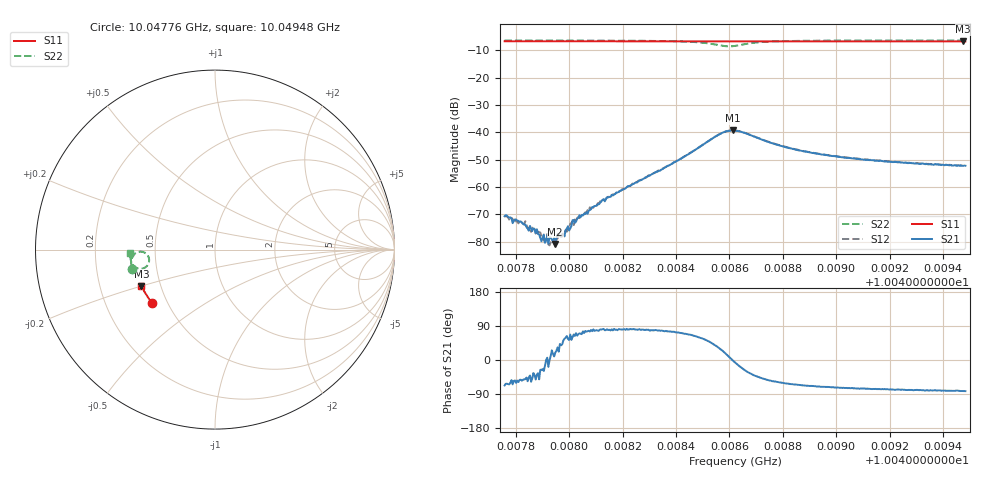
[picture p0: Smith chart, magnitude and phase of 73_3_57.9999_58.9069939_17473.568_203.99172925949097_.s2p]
#  HZ  S  RI  R  50.00
! Rohde & Schwarz Vector Network Analyzer
! Rohde-Schwarz,ZNB20-2Port,1311601062101988,3.16
! Created: UTC 3/21/2024, 12:53:35 AM
! freq[Hz]  re:S11  im:S11  re:S21  im:S21  re:S12  im:S12  re:S22  im:S22
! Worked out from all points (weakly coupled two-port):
!   401 points, 10.04776 GHz to 10.04948 GHz, reference 50 ohm
!   highest |S21| = -39.30 dB at 10.04861 GHz (marker M1); lowest = -80.7 dB at 10.04795 GHz (marker M2)
!   lowest |S11| = -6.8 dB at 10.04948 GHz (marker M3), VSWR 2.68, Z = 19.5 - j9.97 ohm
!   |S11| at or under -10 dB: nowhere
!   |S22| runs from -8.6 to -6.5 dB; largest |S21 - S12| = 0.00077
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1.0047759e10  -0.35 -0.2983  0.000114 -0.000271  0.00016 -0.000249  -0.4632 -0.1077
1.0047832e10  -0.3529 -0.2944  0.00013 -0.000161  0.000144 -0.00015  -0.4642 -0.1018
1.0047849e10  -0.3537 -0.2933  0.000112 -0.000114  0.000104 -0.000138  -0.4644 -0.1005
1.0047875e10  -0.3547 -0.2921  9.02e-05 -0.000114  0.000121 -7.29e-05  -0.4647 -0.0983
1.0047888e10  -0.3553 -0.2913  8.51e-05 -0.000105  0.000102 -0.00011  -0.465 -0.0974
1.0047901e10  -0.3559 -0.2906  0.000109 -4.82e-05  0.000102 -4.2e-05  -0.4648 -0.0963
1.0047931e10  -0.357 -0.2892  0.000117 2.22e-05  9.14e-05 3.5e-05  -0.4651 -0.0937
1.0047948e10  -0.3578 -0.2881  8.67e-05 3.05e-05  7.66e-05 3.3e-05  -0.4655 -0.0923
1.0047966e10  -0.3586 -0.2872  9.39e-05 8.52e-05  0.000107 8.07e-05  -0.4657 -0.091
1.0047974e10  -0.3588 -0.2867  0.000104 9.17e-05  7.24e-05 0.000102  -0.4657 -0.09
1.0048013e10  -0.3603 -0.2848  0.000121 0.000217  9.37e-05 0.000223  -0.4661 -0.0866
1.0048048e10  -0.3618 -0.2829  0.000115 0.000289  8.17e-05 0.000307  -0.4664 -0.0836
1.0048138e10  -0.3654 -0.2779  0.000116 0.000596  6.62e-05 0.000613  -0.4666 -0.0746
1.0048337e10  -0.3727 -0.2672  0.000409 0.00193  0.000315 0.00199  -0.4634 -0.0494
1.0048561e10  -0.3802 -0.2541  0.00773 0.00481  0.00747 0.0053  -0.3899 -0.018
1.0048613e10  -0.3816 -0.2517  0.0108 -0.000174  0.0109 0.000572  -0.3675 -0.0672
1.0048621e10  -0.3819 -0.2513  0.0107 -0.0012  0.0108 -0.000468  -0.3701 -0.0767
1.0048729e10  -0.3861 -0.2459  0.00462 -0.00544  0.00501 -0.00523  -0.4361 -0.1023
1.004891e10  -0.3925 -0.2354  0.00153 -0.00391  0.00177 -0.00385  -0.4649 -0.0711
1.0049199e10  -0.4016 -0.2185  0.000612 -0.00285  0.000805 -0.00283  -0.4727 -0.0402
1.0049475e10  -0.4096 -0.2021  0.000337 -0.00241  0.000496 -0.00242  -0.4746 -0.0177
1.0049484e10  -0.41 -0.2017  0.000334 -0.00243  0.000495 -0.00241  -0.4745 -0.0171
